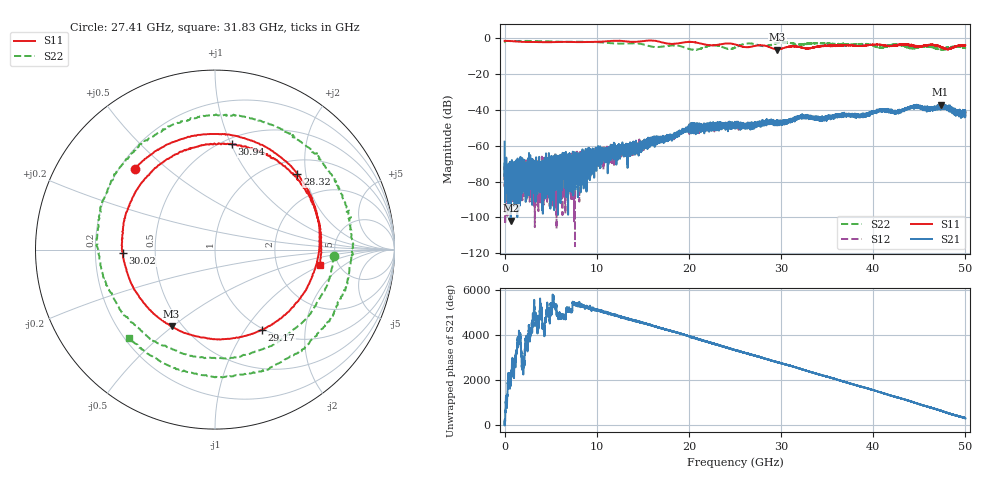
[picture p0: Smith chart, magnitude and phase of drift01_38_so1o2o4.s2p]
!Created with skrf (http://scikit-rf.org).
# Hz S RI R 50.0
!freq ReS11 ImS11 ReS21 ImS21 ReS12 ImS12 ReS22 ImS22
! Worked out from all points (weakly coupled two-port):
!   10001 points, 300 kHz to 50 GHz, reference 50 ohm
!   highest |S21| = -36.99 dB at 47.31 GHz (marker M1); lowest = -101.8 dB at 660.3 MHz (marker M2)
!   lowest |S11| = -6.2 dB at 29.6 GHz (marker M3), VSWR 2.92, Z = 22 - j24.7 ohm
!   |S11| at or under -10 dB: nowhere
!   |S22| runs from -6.4 to -1.4 dB; largest |S21 - S12| = 0.0044
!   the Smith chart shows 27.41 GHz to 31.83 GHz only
!   S11 on the Smith chart (normalised r, x): 27.41 GHz: 0.26, +0.39; 28.32 GHz: 1.30, +1.79; 29.17 GHz: 0.98, -1.20; 30.02 GHz: 0.32, -0.02; 30.94 GHz: 0.55, +1.01; 31.83 GHz: 3.61, -0.97
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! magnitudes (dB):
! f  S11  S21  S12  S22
! 300 kHz  -1.3  -57.7  -69.6  -2.1
! 255.3 MHz  -1.4  -81.8  -75.4  -1.4
! 660.3 MHz  -1.5  -101.8  -72.0  -1.5
! 3.705 GHz  -2.0  -77.1  -79.9  -1.5
! 8.335 GHz  -2.0  -69.0  -65.2  -1.8
! 9.67 GHz  -1.9  -67.4  -66.4  -2.0
! 16.67 GHz  -1.6  -57.7  -56.4  -4.8
! 18.62 GHz  -2.9  -54.3  -54.0  -3.9
! 20.23 GHz  -1.9  -50.1  -48.2  -6.2
! 22.61 GHz  -3.8  -48.2  -48.8  -3.8
! 25 GHz  -3.3  -49.0  -48.7  -5.1
! 27.41 GHz  -3.9  -47.1  -47.8  -3.5
! 28.32 GHz  -4.1  -46.8  -46.8  -4.3
! 29.17 GHz  -5.7  -45.8  -47.4  -3.1
! 29.6 GHz  -6.2  -47.4  -47.1  -2.5
! 30.02 GHz  -5.8  -46.6  -47.2  -2.3
! 30.94 GHz  -4.5  -45.9  -46.4  -2.6
! 31.83 GHz  -4.6  -44.4  -43.8  -3.2
! 33.34 GHz  -5.2  -44.0  -44.2  -2.7
! 41.67 GHz  -4.3  -41.4  -40.2  -4.3
! 47.31 GHz  -4.6  -37.0  -38.0  -6.1
! 50 GHz  -3.9  -43.6  -41.7  -5.4
